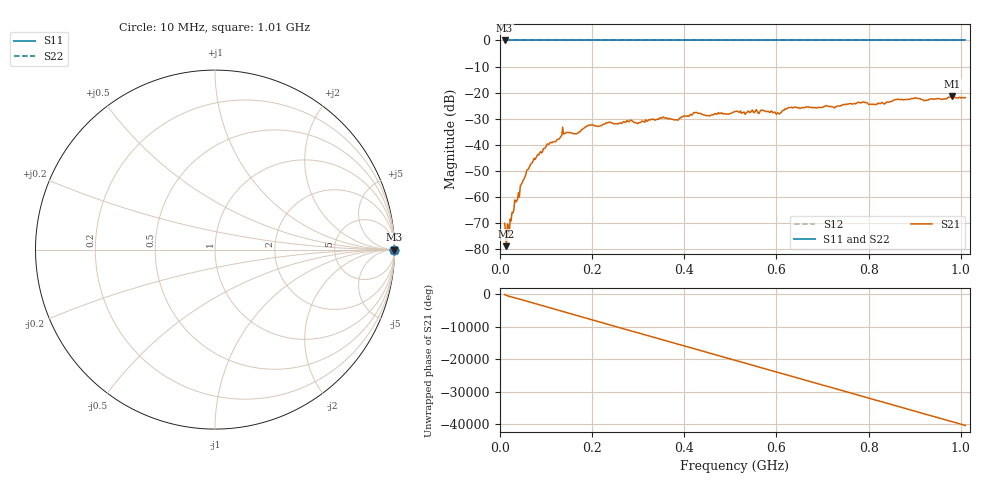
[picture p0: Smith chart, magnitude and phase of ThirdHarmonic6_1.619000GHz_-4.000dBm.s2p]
! 8/16/2025 7:19:46 PM
! C:\ANRITSUVNA\TEMP\TEMP.S2P
! CHANNEL.1
! TR.MEASUREMENT
! RAW.DATA
! RF.CORRECTION.OFF
! AVERAGING.OFF
! IF.BANDWIDTH: 5KHZ
! SWEEPTYPE:  FREQ.SWEEP(Linear)
! Reference Plane Port Info
! PORT:  PORT1  PORT2
! DISTANCE:  0  m  0  m
! TIME:  0  s  0  s
! PHASE.OFFSET:  0  deg.  0  deg.
! LOSS:  0  dB  0  dB
! REF.LOSS:  0  dB  0  dB
! REF.FREQ:  0  Hz  0  Hz
! Power Info
! POWER:  -20  dBm  -20  dBm
! EFF.POWER:  -20  dBm  -20  dBm
! SOURCE.ATTEN:  0  dB  0  dB
! TEST.ATTEN:  0  dB  0  dB
# GHZ S RI R 50.0
! FREQ.GHZ  S11RE  S11IM  S21RE  S21IM  S12RE  S12IM  S22RE  S22IM
!; PortSelection: Port_12
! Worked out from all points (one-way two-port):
!   501 points, 10 MHz to 1.01 GHz, reference 50 ohm
!   highest |S21| = -21.22 dB at 982 MHz (marker M1); lowest = -78.8 dB at 14 MHz (marker M2)
!   lowest |S11| = 0.0 dB at 10 MHz (marker M3)
!   |S11| at or under -10 dB: nowhere
!   |S22| runs from 0.0 to 0.0 dB; largest |S21 - S12| = 1.1
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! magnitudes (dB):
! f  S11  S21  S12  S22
! 10 MHz  0.0  -70.0  0.0  0.0
! 14 MHz  0.0  -78.8  0.0  0.0
! 18 MHz  0.0  -70.7  0.0  0.0
! 30 MHz  0.0  -65.0  0.0  0.0
! 48 MHz  0.0  -54.6  0.0  0.0
! 70 MHz  0.0  -46.8  0.0  0.0
! 106 MHz  0.0  -39.8  0.0  0.0
! 140 MHz  0.0  -35.6  0.0  0.0
! 164 MHz  0.0  -35.8  0.0  0.0
! 178 MHz  0.0  -34.0  0.0  0.0
! 196 MHz  0.0  -32.4  0.0  0.0
! 344 MHz  0.0  -30.2  0.0  0.0
! 382 MHz  0.0  -30.3  0.0  0.0
! 424 MHz  0.0  -27.7  0.0  0.0
! 452 MHz  0.0  -28.8  0.0  0.0
! 510 MHz  0.0  -27.2  0.0  0.0
! 604 MHz  0.0  -27.8  0.0  0.0
! 628 MHz  0.0  -25.7  0.0  0.0
! 678 MHz  0.0  -25.7  0.0  0.0
! 844 MHz  0.0  -23.5  0.0  0.0
! 982 MHz  0.0  -21.2  0.0  0.0
! 1.01 GHz  0.0  -21.9  0.0  0.0
